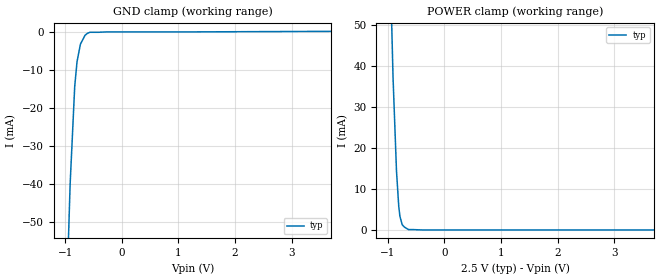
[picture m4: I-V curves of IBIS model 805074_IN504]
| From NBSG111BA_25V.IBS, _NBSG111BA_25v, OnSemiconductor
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| COPYRIGHT(C) MENTOR GRAPHICS CORPORATION 2001 ALL
| RIGHTS RESERVED. THIS WORK CONTAINS PROPRIETARY
| INFORMATION WHICH IS THE PROPERTY OF MENTOR GRAPHICS
| CORPORATION OR ITS LICENSORS. USE OF THESE MATERIALS
| IS SUBJECT TO THE TERMS BELOW.
| USE: YOU MAY USE IBIS MODELS SOLELY FOR DEVELOPING
| PRINTED CIRCUIT BOARD DESIGNS. NO OTHER USE OR
| DISTRIBUTION OF THESE MATERIALS IS PERMITTED.
| Model Application Version 1.89 2/18/99.
[Model] 805074_IN504
Model_type Input
Vinl = 700.0mV
Vinh = 1.700V
C_comp 500.0fF NA NA
| variable typ   min   max
[Voltage Range] 2.500V NA NA
[GND Clamp Reference] 0.000V NA NA
[POWER Clamp Reference] 2.500V NA NA
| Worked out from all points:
|   GND clamp passes 1 mA (typ) near -0.65 V on its own axis
|   POWER clamp passes 1 mA (typ) near -0.72 V on its own axis
[GND Clamp]
-2.5V     -940.8mA   NA         NA
-1.034V   -99.1mA    NA         NA
-912mV    -40mA      NA         NA
-831mV    -14.3mA    NA         NA
-790mV    -7.8mA     NA         NA
-730mV    -3.2mA     NA         NA
-649mV    -900uA     NA         NA
-608mV    -400uA     NA         NA
-562.5mV  -100uA     NA         NA
-258.5mV  0A         NA         NA
5V        222.2uA    NA         NA
[POWER Clamp]
-2.5V     1.12A      NA         NA
-1.027V   104.4mA    NA         NA
-905mV    37.37mA    NA         NA
-844mV    14.48mA    NA         NA
-804mV    5.777mA    NA         NA
-784mV    3.379mA    NA         NA
-743mV    1.281mA    NA         NA
-702mV    683.4uA    NA         NA
-631mV    91.72uA    NA         NA
-560mV    91.72uA    NA         NA
-373.3mV  0A         NA         NA
5V        0A         NA         NA
